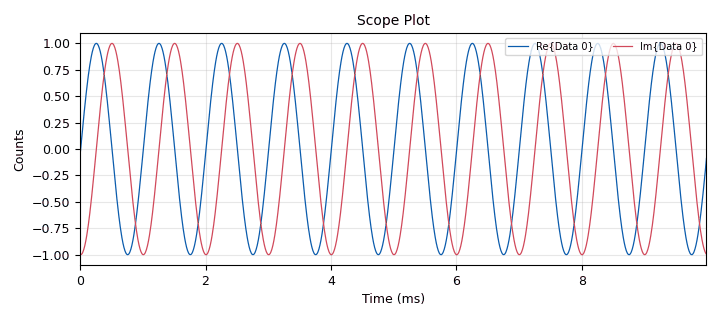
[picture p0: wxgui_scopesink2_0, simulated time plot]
<?xml version='1.0' encoding='utf-8'?>
<?grc format='1' created='3.7.5'?>
<flow_graph>
<block>
<key>variable_slider</key>
<param><key>id</key><value>audio_freq</value></param>
<param><key>label</key><value>Audio Freq</value></param>
<param><key>value</key><value>saved_audio_freq</value></param>
<param><key>min</key><value>0</value></param>
<param><key>max</key><value>10000</value></param>
<param><key>num_steps</key><value>100</value></param>
<param><key>style</key><value>wx.SL_HORIZONTAL</value></param>
<param><key>converver</key><value>int_converter</value></param>
</block>
<block>
<key>variable</key>
<param><key>id</key><value>config_file</value></param>
<param><key>value</key><value>'persist_config.ini'</value></param>
</block>
<block>
<key>variable</key>
<param><key>id</key><value>samp_rate</value></param>
<param><key>value</key><value>125000</value></param>
</block>
<block>
<key>analog_sig_source_x</key>
<param><key>id</key><value>analog_sig_source_x_0</value></param>
<param><key>type</key><value>complex</value></param>
<param><key>samp_rate</key><value>samp_rate</value></param>
<param><key>waveform</key><value>analog.GR_COS_WAVE</value></param>
<param><key>freq</key><value>audio_freq</value></param>
<param><key>amp</key><value>audio_gain</value></param>
<param><key>offset</key><value>0</value></param>
</block>
<block>
<key>blocks_throttle</key>
<param><key>id</key><value>blocks_throttle_0</value></param>
<param><key>type</key><value>complex</value></param>
<param><key>samples_per_second</key><value>samp_rate</value></param>
</block>
<block>
<key>wxgui_scopesink2</key>
<param><key>id</key><value>wxgui_scopesink2_0</value></param>
<param><key>type</key><value>complex</value></param>
<param><key>title</key><value>Scope Plot</value></param>
<param><key>samp_rate</key><value>samp_rate</value></param>
<param><key>v_scale</key><value>2.5</value></param>
<param><key>v_offset</key><value>0.0</value></param>
<param><key>t_scale</key><value>0.0</value></param>
<param><key>ac_couple</key><value>True</value></param>
<param><key>xy_mode</key><value>False</value></param>
<param><key>num_inputs</key><value>1</value></param>
<param><key>trig_mode</key><value>wxgui.TRIG_MODE_AUTO</value></param>
<param><key>y_axis_label</key><value>Counts</value></param>
</block>
<block>
<key>variable_config</key>
<param><key>id</key><value>saved_audio_gain</value></param>
<param><key>value</key><value>1</value></param>
<param><key>type</key><value>real</value></param>
<param><key>config_file</key><value>config_file</value></param>
<param><key>section</key><value>main</value></param>
<param><key>option</key><value>audio_gain</value></param>
<param><key>writeback</key><value>audio_gain</value></param>
</block>
<block>
<key>variable_config</key>
<param><key>id</key><value>saved_audio_freq</value></param>
<param><key>value</key><value>1000</value></param>
<param><key>type</key><value>int</value></param>
<param><key>config_file</key><value>config_file</value></param>
<param><key>section</key><value>main</value></param>
<param><key>option</key><value>audio_freq</value></param>
<param><key>writeback</key><value>audio_freq</value></param>
</block>
<block>
<key>variable_slider</key>
<param><key>id</key><value>audio_gain</value></param>
<param><key>label</key><value>Audio Gain</value></param>
<param><key>value</key><value>saved_audio_gain</value></param>
<param><key>min</key><value>0</value></param>
<param><key>max</key><value>10</value></param>
<param><key>num_steps</key><value>100</value></param>
<param><key>style</key><value>wx.SL_HORIZONTAL</value></param>
<param><key>converver</key><value>float_converter</value></param>
</block>
<block>
<key>options</key>
<param><key>id</key><value>persist_config</value></param>
<param><key>generate_options</key><value>wx_gui</value></param>
<param><key>category</key><value>Custom</value></param>
</block>
<connection><source_block_id>blocks_throttle_0</source_block_id><sink_block_id>wxgui_scopesink2_0</sink_block_id><source_key>0</source_key><sink_key>0</sink_key></connection>
<connection><source_block_id>analog_sig_source_x_0</source_block_id><sink_block_id>blocks_throttle_0</sink_block_id><source_key>0</source_key><sink_key>0</sink_key></connection>
</flow_graph>
